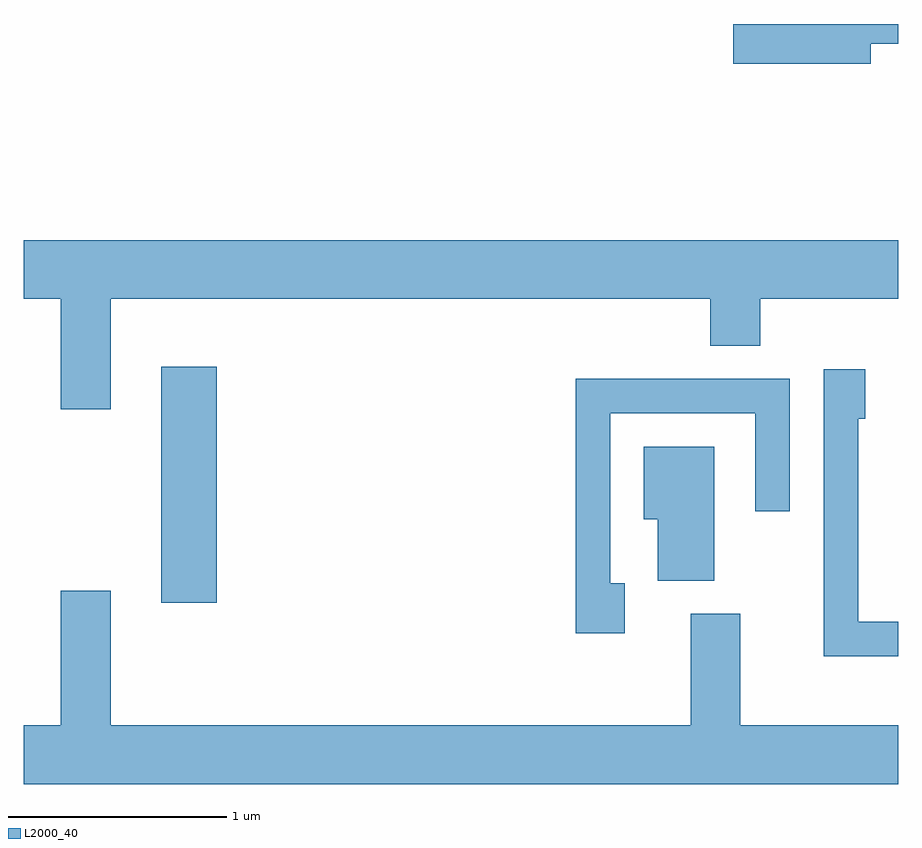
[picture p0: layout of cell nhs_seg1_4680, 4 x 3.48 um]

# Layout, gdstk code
import gdstk
lib = gdstk.Library(unit=1e-6, precision=1e-09)
def R(c, l, rs):  # rectangles x0, y0, x1, y1
    for r in rs: c.add(gdstk.rectangle(r[:2], r[2:], *l))
def P(c, l, *ps):  # polygons
    for p in ps: c.add(gdstk.Polygon(p, *l))
L2000_40 = (2000, 40)

nhs_seg1_4680 = lib.new_cell('nhs_seg1_4680')
R(nhs_seg1_4680, L2000_40, [(326.241,907.066,326.494,908.144)])
P(nhs_seg1_4680, L2000_40, [(329.484,909.621),(329.611,909.621),(329.611,909.712),(328.856,909.712),(328.856,909.531),(329.484,909.531)],
  [(326.009,908.456),(328.751,908.456),(328.751,908.241),(328.979,908.241),(328.979,908.456),(329.611,908.456),(329.611,908.724),(325.611,908.724),(325.611,908.456),(325.781,908.456),(325.781,907.951),(326.009,907.951)],
  [(329.611,906.979),(329.429,906.979),(329.429,907.906),(329.459,907.906),(329.459,908.134),(329.271,908.134),(329.271,906.821),(329.611,906.821)],
  [(328.359,907.154),(328.294,907.154),(328.294,907.931),(328.956,907.931),(328.956,907.483),(329.114,907.483),(329.114,908.089),(328.136,908.089),(328.136,906.926),(328.359,906.926)],
  [(328.769,907.779),(328.446,907.779),(328.446,907.446),(328.511,907.446),(328.511,907.166),(328.769,907.166)],
  [(329.611,906.504),(328.889,906.504),(328.889,907.014),(328.661,907.014),(328.661,906.504),(326.009,906.504),(326.009,907.119),(325.781,907.119),(325.781,906.504),(325.611,906.504),(325.611,906.236),(329.611,906.236)])

lib.write_gds('nhs_seg1_4680.gds')
